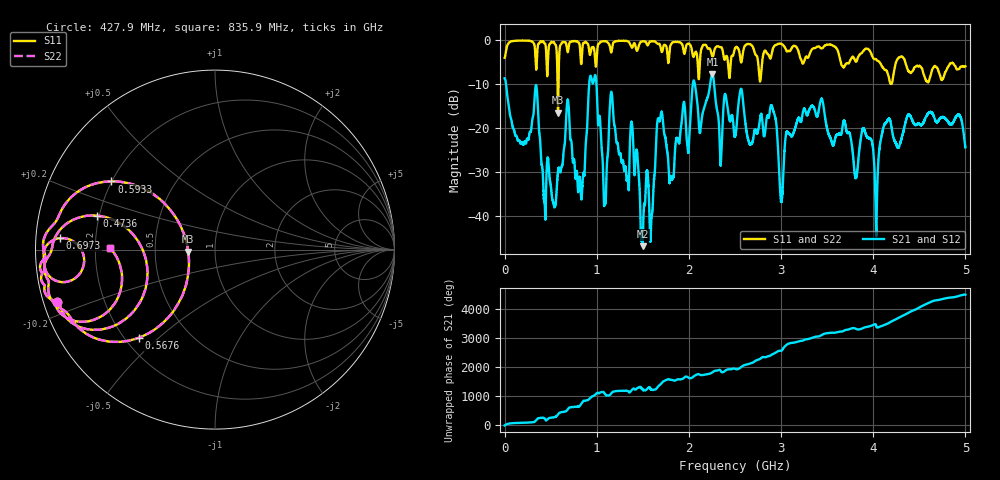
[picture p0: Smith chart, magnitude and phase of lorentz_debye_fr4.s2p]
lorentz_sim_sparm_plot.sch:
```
<Qucs Schematic 0.0.19>
<Properties>
  <View=130,131,1674,861,0.868493,0,0>
  <Grid=10,10,1>
  <DataSet=lorentz_sim_sparm_plot.dat>
  <DataDisplay=lorentz_sim_sparm_plot.dpl>
  <OpenDisplay=1>
  <Script=lorentz_sim_sparm_plot.m>
  <RunScript=0>
  <showFrame=0>
  <FrameText0=Title>
  <FrameText1=Drawn By:>
  <FrameText2=Date:>
  <FrameText3=Revision:>
</Properties>
<Symbol>
</Symbol>
<Components>
  <.SP SP1 1 180 620 0 81 0 0 "log" 1 "0.1MHz" 1 "14GHz" 1 "2000" 1 "no" 0 "1" 0 "2" 0 "no" 0 "no" 0>
  <Pac P2 1 1100 290 18 -26 0 1 "2" 1 "50 Ohm" 1 "0 dBm" 0 "1 GHz" 0 "26.85" 0>
  <GND * 1 1100 320 0 0 0 0>
  <Pac P1 1 350 300 18 -26 0 1 "1" 1 "50" 1 "0 dBm" 0 "1 GHz" 0 "26.85" 0>
  <GND * 1 350 330 0 0 0 0>
  <GND * 1 790 270 0 0 0 0>
  <Eqn Eqn1 1 370 630 -28 15 0 0 "dBS21=dB(S[2,1])" 1 "dBS11=dB(S[1,1])" 1 "yes" 0>
  <SPfile X2 1 790 240 -26 -69 0 0 "/home/radioactive/projects/github/jPCBSim_demos/lorentz_experiment_koledintseva_et_al/lorentz_debye_fr4.s2p" 1 "rectangular" 0 "linear" 0 "open" 0 "2" 0>
</Components>
<Wires>
  <1100 240 1100 260 "" 0 0 0 "">
  <350 240 350 270 "" 0 0 0 "">
  <350 240 760 240 "" 0 0 0 "">
  <820 240 1100 240 "" 0 0 0 "">
</Wires>
<Diagrams>
</Diagrams>
<Paintings>
</Paintings>
```
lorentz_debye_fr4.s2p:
! jPCBSim: Simulation Results For /home/radioactive/opt/Projects//lorentz_debye_fr4 Project.
! Warning: S12 and S22 are actually just S21 and S11.  This is only true if your device is port-to-port symetrical!
! Frequency  S11  S21  S12  S22
# MHz  S  RI R  50
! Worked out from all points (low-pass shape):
!   16383 points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, 305 kHz to 5 GHz, reference 50 ohm
!   highest |S21| = -7.71 dB at 2.255 GHz (marker M1); lowest = -47.0 dB at 1.497 GHz (marker M2)
!   |S21| within 3 dB of the highest: 915.3 MHz to 998.7 MHz (83.37 MHz wide, 8.71 % of centre); 2.226 GHz to 2.277 GHz (51.06 MHz wide, 2.27 % of centre)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
!   lowest |S11| = -16.5 dB at 579.8 MHz (marker M3), VSWR 1.35, Z = 37 - j0.833 ohm
!   |S11| at or under -10 dB: 575 MHz to 584.5 MHz (9.52 MHz wide, 1.64 % of centre)
!   |S22| runs from -16.5 to 0.0 dB; largest |S21 - S12| = 0
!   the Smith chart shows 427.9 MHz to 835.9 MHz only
!   S11 on the Smith chart (normalised r, x): 427.9 MHz: 0.04, -0.16; 473.6 MHz: 0.19, +0.14; 567.6 MHz: 0.26, -0.43; 593.3 MHz: 0.20, +0.29; 697.3 MHz: 0.07, +0.04; 835.9 MHz: 0.26, +0.01
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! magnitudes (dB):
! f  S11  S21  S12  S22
! 305 kHz  -4.0  -8.7  -8.7  -4.0
! 427.9 MHz  -0.6  -36.6  -36.6  -0.6
! 473.6 MHz  -3.3  -27.4  -27.4  -3.3
! 567.6 MHz  -3.8  -33.2  -33.2  -3.8
! 579.8 MHz  -16.5  -30.0  -30.0  -16.5
! 593.3 MHz  -3.2  -29.5  -29.5  -3.2
! 697.3 MHz  -1.3  -15.6  -15.6  -1.3
! 835.9 MHz  -4.6  -36.0  -36.0  -4.6
! 1.497 GHz  -0.3  -47.0  -47.0  -0.3
! 2.255 GHz  -3.9  -7.7  -7.7  -3.9
! 2.5 GHz  -1.8  -21.9  -21.9  -1.8
! 5 GHz  -6.0  -24.4  -24.4  -6.0
